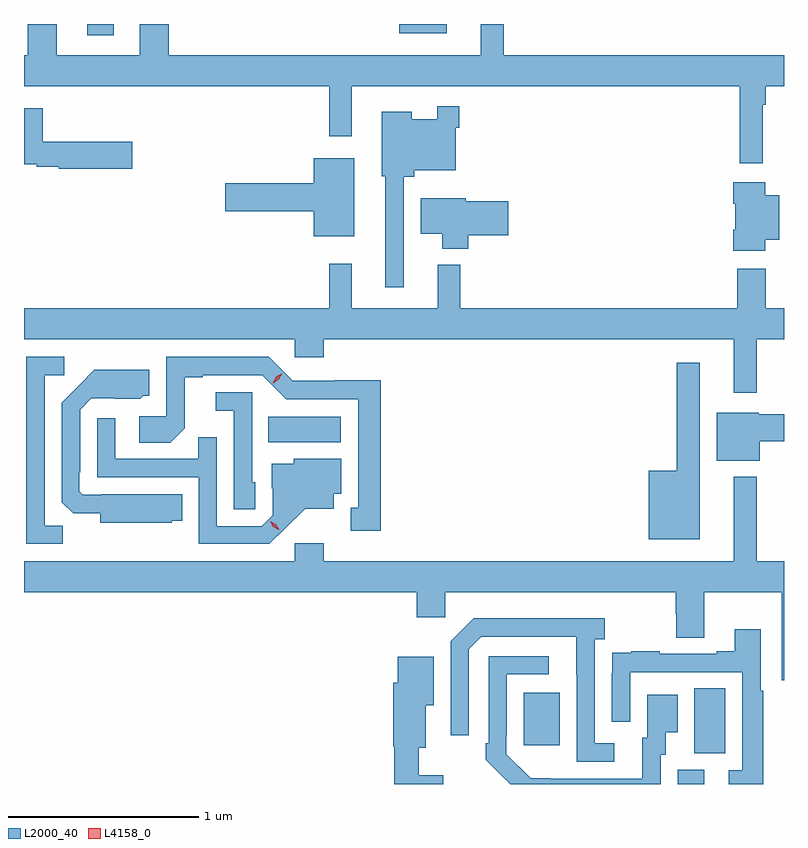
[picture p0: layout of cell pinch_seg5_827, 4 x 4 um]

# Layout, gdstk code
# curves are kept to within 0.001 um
import gdstk
lib = gdstk.Library(unit=1e-6, precision=1e-09)
def R(c, l, rs):  # rectangles x0, y0, x1, y1
    for r in rs: c.add(gdstk.rectangle(r[:2], r[2:], *l))
def P(c, l, *ps):  # polygons
    for p in ps: c.add(gdstk.Polygon(p, *l))
L2000_40 = (2000, 40)
L4158_0 = (4158, 0)

pinch_seg5_827 = lib.new_cell('pinch_seg5_827')
R(pinch_seg5_827, L2000_40, [(774.665,875.732,774.805,875.808), (774.752,875.893,774.916,876.236), (773.855,875.937,774.043,876.211), (772.51,877.532,772.891,877.666), (771.557,879.672,771.697,879.732), (773.198,879.683,773.449,879.732)])
P(pinch_seg5_827, L2000_40, [(771.245,879.732),(771.245,879.568),(771.224,879.568),(771.224,879.404),(772.831,879.404),(772.831,879.141),(772.948,879.141),(772.948,879.404),(774.991,879.404),(774.991,879),(775.112,879),(775.112,879.308),(775.127,879.308),(775.127,879.404),(775.224,879.404),(775.224,879.568),(773.749,879.568),(773.749,879.732),(773.627,879.732),(773.627,879.568),(771.986,879.568),(771.986,879.732),(771.833,879.732),(771.833,879.568),(771.397,879.568),(771.397,879.732)],
  [(773.223,878.927),(773.279,878.927),(773.279,878.963),(773.496,878.963),(773.496,879.185),(773.516,879.185),(773.516,879.298),(773.399,879.298),(773.399,879.232),(773.266,879.232),(773.266,879.271),(773.108,879.271),(773.108,878.931),(773.126,878.931),(773.126,878.346),(773.223,878.346)],
  [(771.793,879.111),(771.322,879.111),(771.322,879.289),(771.224,879.289),(771.224,878.993),(771.29,878.993),(771.29,878.981),(771.408,878.981),(771.408,878.969),(771.793,878.969)],
  [(772.963,879.025),(772.748,879.025),(772.748,878.894),(772.284,878.894),(772.284,878.747),(772.748,878.747),(772.748,878.615),(772.963,878.615)],
  [(775.126,878.597),(775.198,878.597),(775.198,878.83),(775.126,878.83),(775.126,878.899),(774.956,878.899),(774.956,878.786),(774.968,878.786),(774.968,878.65),(774.956,878.65),(774.956,878.538),(775.126,878.538)],
  [(773.561,878.62),(773.773,878.62),(773.773,878.798),(773.548,878.798),(773.548,878.815),(773.312,878.815),(773.312,878.627),(773.426,878.627),(773.426,878.549),(773.561,878.549)],
  [(775.081,878.072),(775.224,878.072),(775.224,878.236),(775.129,878.236),(775.129,878.443),(774.977,878.443),(774.977,878.236),(773.519,878.236),(773.519,878.464),(773.402,878.464),(773.402,878.236),(772.949,878.236),(772.949,878.47),(772.831,878.47),(772.831,878.236),(771.224,878.236),(771.224,878.072),(772.65,878.072),(772.65,877.979),(772.802,877.979),(772.802,878.072),(774.959,878.072),(774.959,877.791),(775.081,877.791)],
  [(771.429,877.091),(771.333,877.091),(771.333,877.884),(771.436,877.884),(771.436,877.98),(771.237,877.98),(771.237,876.996),(771.429,876.996)],
  [(773.101,877.856),(772.86,877.856),(772.86,877.854),(772.638,877.854),(772.512,877.98),(771.972,877.98),(771.972,877.668),(771.831,877.668),(771.831,877.528),(771.995,877.528),(772.071,877.604),(772.071,877.872),(772.165,877.872),(772.165,877.884),(772.479,877.884),(772.605,877.758),(772.982,877.758),(772.982,877.185),(772.943,877.185),(772.943,877.065),(773.101,877.065)],
  [(774.781,877.948),(774.66,877.948),(774.66,877.381),(774.512,877.381),(774.512,877.019),(774.781,877.019)],
  [(772.002,877.118),(772.058,877.118),(772.058,877.258),(771.634,877.258),(771.634,877.254),(771.534,877.254),(771.516,877.272),(771.516,877.372),(771.519,877.372),(771.519,877.701),(771.579,877.761),(771.836,877.76),(771.852,877.776),(771.883,877.776),(771.883,877.912),(771.595,877.912),(771.423,877.738),(771.423,877.216),(771.482,877.157),(771.626,877.157),(771.626,877.106),(772.002,877.106)],
  [(772.44,877.32),(772.425,877.32),(772.425,877.794),(772.233,877.794),(772.233,877.697),(772.329,877.697),(772.329,877.177),(772.44,877.177)],
  [(775.096,877.535),(775.224,877.535),(775.224,877.677),(775.092,877.677),(775.092,877.687),(774.869,877.687),(774.869,877.433),(775.096,877.433)],
  [(772.6,877.079),(772.703,877.181),(772.855,877.181),(772.855,877.26),(772.894,877.26),(772.894,877.444),(772.644,877.444),(772.644,877.417),(772.529,877.417),(772.529,877.288),(772.533,877.288),(772.533,877.146),(772.476,877.089),(772.239,877.089),(772.239,877.556),(772.141,877.556),(772.141,877.443),(771.705,877.443),(771.705,877.657),(771.609,877.657),(771.609,877.347),(772.143,877.347),(772.143,876.996),(772.516,876.996)],
  [(775.224,876.904),(775.081,876.904),(775.081,877.348),(774.959,877.348),(774.959,876.904),(772.802,876.904),(772.802,877),(772.65,877),(772.65,876.904),(771.224,876.904),(771.224,876.74),(773.291,876.74),(773.291,876.609),(773.442,876.609),(773.442,876.74),(774.653,876.74),(774.653,876.627),(774.658,876.627),(774.658,876.502),(774.805,876.502),(774.805,876.74),(775.211,876.74),(775.211,876.279),(775.224,876.279)],
  [(774.331,875.946),(774.228,875.946),(774.228,876.494),(774.28,876.494),(774.28,876.604),(773.59,876.604),(773.469,876.483),(773.469,875.988),(773.565,875.988),(773.565,876.441),(773.631,876.507),(774.131,876.507),(774.132,875.85),(774.331,875.85)],
  [(775.114,876.224),(775.101,876.224),(775.101,876.547),(774.965,876.547),(774.965,876.43),(774.869,876.43),(774.869,876.417),(774.569,876.417),(774.569,876.43),(774.421,876.43),(774.421,876.423),(774.319,876.423),(774.319,876.314),(774.318,876.314),(774.318,876.06),(774.414,876.06),(774.414,876.321),(775.005,876.321),(775.005,875.805),(774.933,875.805),(774.933,875.732),(775.114,875.732)],
  [(774.576,875.886),(774.601,875.886),(774.601,876.005),(774.664,876.005),(774.664,876.202),(774.503,876.202),(774.503,875.976),(774.479,875.976),(774.479,875.76),(773.892,875.761),(773.763,875.889),(773.763,875.989),(773.766,875.989),(773.766,876.309),(773.986,876.309),(773.986,876.405),(773.67,876.405),(773.67,875.947),(773.655,875.947),(773.655,875.859),(773.76,875.754),(773.761,875.755),(773.784,875.732),(774.576,875.732)],
  [(773.431,875.779),(773.302,875.779),(773.302,875.924),(773.338,875.924),(773.338,876.146),(773.38,876.146),(773.38,876.403),(773.192,876.403),(773.192,876.264),(773.168,876.264),(773.168,875.928),(773.173,875.928),(773.173,875.732),(773.431,875.732)])
P(pinch_seg5_827, L4158_0, [(772.534,877.842),(772.534,877.842),(772.551,877.875),(772.582,877.895),(772.582,877.895),(772.582,877.894),(772.566,877.862),(772.535,877.842)],
  [(772.566,877.071),(772.536,877.086),(772.519,877.115),(772.519,877.115),(772.519,877.115),(772.55,877.1),(772.567,877.071),(772.567,877.071)])

lib.write_gds('pinch_seg5_827.gds')
